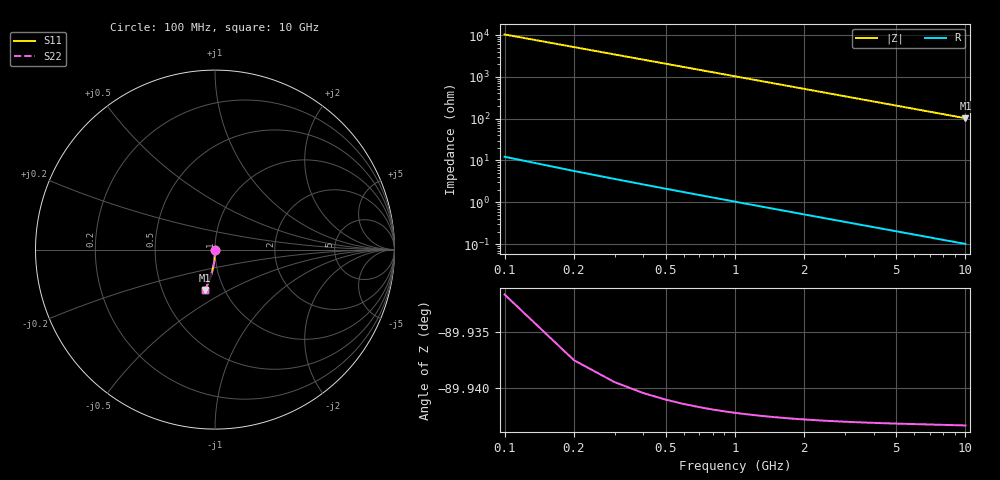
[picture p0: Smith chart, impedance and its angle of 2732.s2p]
# Hz S RI R 50.00
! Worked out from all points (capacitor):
!   100 points, 100 MHz to 10 GHz, reference 50 ohm
!   read as one part in shunt: C = 154 fF near 100 MHz
!   lowest |Z| = 103 ohm at 10 GHz (marker M1)
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1e8  7.86e-06 -0.00238  1 -0.00248  1 -0.00248  7.86e-06 -0.00238
2e8  -1.21e-05 -0.00475  1 -0.00496  1 -0.00496  -1.21e-05 -0.00475
3e8  -4.38e-05 -0.00713  0.9999 -0.00743  0.9999 -0.00743  -4.38e-05 -0.00713
4e8  -8.74e-05 -0.0095  0.9999 -0.00991  0.9999 -0.00991  -8.74e-05 -0.0095
5e8  -0.000143 -0.0119  0.9998 -0.0124  0.9998 -0.0124  -0.000143 -0.0119
6e8  -0.00021 -0.0143  0.9998 -0.0149  0.9998 -0.0149  -0.00021 -0.0143
7e8  -0.000289 -0.0166  0.9997 -0.0173  0.9997 -0.0173  -0.000289 -0.0166
8e8  -0.000379 -0.019  0.9996 -0.0198  0.9996 -0.0198  -0.000379 -0.019
9e8  -0.000482 -0.0214  0.9995 -0.0223  0.9995 -0.0223  -0.000482 -0.0214
1.1e9  -0.000722 -0.0261  0.9992 -0.0272  0.9992 -0.0272  -0.000722 -0.0261
1.4e9  -0.00117 -0.0332  0.9988 -0.0347  0.9988 -0.0347  -0.00117 -0.0332
1.8e9  -0.00193 -0.0427  0.998 -0.0445  0.998 -0.0445  -0.00193 -0.0427
2.1e9  -0.00263 -0.0498  0.9973 -0.0519  0.9973 -0.0519  -0.00263 -0.0498
2.5e9  -0.00372 -0.0592  0.9962 -0.0618  0.9962 -0.0618  -0.00372 -0.0592
2.9e9  -0.00499 -0.0686  0.995 -0.0716  0.995 -0.0716  -0.00499 -0.0686
3.4e9  -0.00684 -0.0803  0.9931 -0.0838  0.9931 -0.0838  -0.00684 -0.0803
4.2e9  -0.0104 -0.0989  0.9896 -0.1032  0.9896 -0.1032  -0.0104 -0.0989
5.1e9  -0.0153 -0.1196  0.9847 -0.1248  0.9847 -0.1248  -0.0153 -0.1196
5.9e9  -0.0203 -0.1377  0.9796 -0.1438  0.9796 -0.1438  -0.0203 -0.1377
6.7e9  -0.0261 -0.1555  0.9739 -0.1624  0.9739 -0.1624  -0.0261 -0.1555
8.4e9  -0.0404 -0.1922  0.9595 -0.2009  0.9595 -0.2009  -0.0404 -0.1922
1e10  -0.0564 -0.2251  0.9435 -0.2355  0.9435 -0.2355  -0.0564 -0.2251
